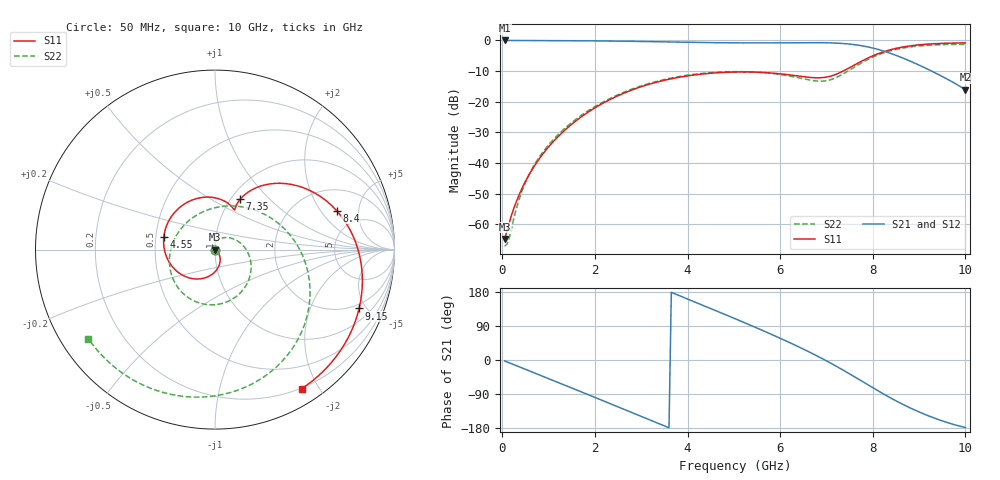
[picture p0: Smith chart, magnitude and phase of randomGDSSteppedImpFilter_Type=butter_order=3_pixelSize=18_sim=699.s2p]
! freq	dB(S11)	phase(S11)	dB(S12)	phase(S12)
!  dB(S21)	phase(S21)	dB(S22)	phase(S22)
!S-par simulation data
#  GHz  S  DB  R 50
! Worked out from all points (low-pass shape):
!   200 points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, 50 MHz to 10 GHz, reference 50 ohm
!   highest |S21| = 0.00 dB at 50 MHz (marker M1); lowest = -16.1 dB at 10 GHz (marker M2)
!   |S21| within 3 dB of the highest: start of sweep to 8.132 GHz
!   lowest |S11| = -64.8 dB at 50 MHz (marker M3), VSWR 1.00, Z = 50.1 - j0.024 ohm
!   |S11| at or under -10 dB: start of sweep to 7.359 GHz
!   |S22| runs from -67.1 to -1.3 dB; largest |S21 - S12| = 0
!   S11 on the Smith chart (normalised r, x): 50 MHz: 1.00, -0.00; 4.55 GHz: 0.55, +0.09; 7.35 GHz: 1.10, +0.69; 8.4 GHz: 3.26, +2.87; 9.15 GHz: 1.70, -4.48; 10 GHz: 0.19, -1.78
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0.05  -64.79 -24.6  -0.00 -2.5  -0.00 -2.5  -67.12 -24.5
0.15  -59.43 -42.3  -0.01 -7.4  -0.01 -7.4  -64.46 -97.5
0.35  -50.84 -42.2  -0.03 -17.3  -0.03 -17.3  -52.48 -168.0
0.7  -40.78 -39.0  -0.04 -34.4  -0.04 -34.4  -40.40 148.2
1.15  -32.20 -44.5  -0.07 -56.6  -0.07 -56.6  -31.56 110.6
1.75  -24.45 -61.4  -0.11 -86.3  -0.11 -86.3  -23.97 68.7
2.5  -18.02 -90.8  -0.22 -123.7  -0.22 -123.7  -17.70 23.4
3.4  -13.35 -133.3  -0.43 -168.9  -0.43 -168.9  -13.11 -24.5
3.95  -11.68 -161.7  -0.58 163.5  -0.58 163.5  -11.46 -51.1
4.55  -10.64 165.7  -0.72 133.3  -0.72 133.3  -10.46 -78.7
5.05  -10.29 137.9  -0.79 107.8  -0.79 107.8  -10.18 -101.5
5.85  -10.67 94.6  -0.79 65.6  -0.79 65.6  -10.80 -141.9
6.7  -12.13 64.9  -0.72 16.8  -0.72 16.8  -13.06 149.0
7.05  -11.80 64.1  -0.78 -5.5  -0.78 -5.5  -12.98 101.3
7.35  -10.07 63.4  -0.99 -26.0  -0.99 -26.0  -11.02 58.1
7.85  -6.06 47.8  -1.97 -62.1  -1.97 -62.1  -6.55 0.4
8.35  -3.16 20.7  -4.03 -97.8  -4.03 -97.8  -3.51 -43.9
8.4  -2.96 17.8  -4.30 -101.2  -4.30 -101.2  -3.31 -47.9
8.8  -1.79 -4.5  -6.69 -126.1  -6.69 -126.1  -2.13 -76.6
9.15  -1.24 -22.2  -9.10 -144.8  -9.10 -144.8  -1.61 -98.5
9.55  -0.92 -40.2  -12.14 -162.7  -12.14 -162.7  -1.34 -121.0
10  -0.79 -58.1  -16.07 -178.1  -16.07 -178.1  -1.28 -144.8
